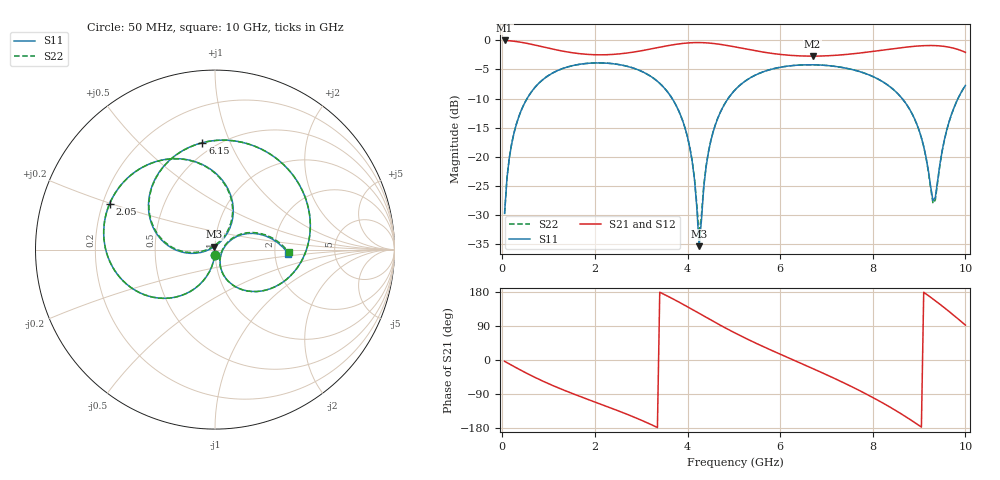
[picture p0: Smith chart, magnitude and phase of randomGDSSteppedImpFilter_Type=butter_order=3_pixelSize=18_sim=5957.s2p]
! freq	dB(S11)	phase(S11)	dB(S12)	phase(S12)
!  dB(S21)	phase(S21)	dB(S22)	phase(S22)
!S-par simulation data
#  GHz  S  DB  R 50
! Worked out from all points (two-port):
!   200 points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, 50 MHz to 10 GHz, reference 50 ohm
!   highest |S21| = -0.01 dB at 50 MHz (marker M1); lowest = -2.7 dB at 6.7 GHz (marker M2)
!   |S21| within 3 dB of the highest: start of sweep to end of sweep
!   lowest |S11| = -35.4 dB at 4.25 GHz (marker M3), VSWR 1.03, Z = 49.5 + j1.61 ohm
!   |S11| at or under -10 dB: start of sweep to 536.6 MHz; 3.667 GHz to 4.878 GHz (1.21 GHz wide, 28.3 % of centre); 8.633 GHz to 9.841 GHz (1.208 GHz wide, 13.1 % of centre)
!   |S22| runs from -33.4 to -3.9 dB; largest |S21 - S12| = 0
!   S11 on the Smith chart (normalised r, x): 50 MHz: 0.99, -0.06; 2.05 GHz: 0.23, +0.20; 6.15 GHz: 0.43, +0.79; 10 GHz: 2.38, -0.13
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0.05  -29.78 -93.5  -0.01 -3.5  -0.01 -3.5  -29.78 -93.5
0.2  -17.89 -104.2  -0.10 -13.7  -0.10 -13.7  -17.89 -104.2
0.5  -10.51 -123.9  -0.46 -33.3  -0.46 -33.3  -10.51 -123.9
1.05  -5.78 -155.8  -1.43 -65.3  -1.43 -65.3  -5.78 -155.7
1.75  -4.02 170.0  -2.35 -99.5  -2.35 -99.5  -4.02 170.1
2.05  -3.87 156.4  -2.48 -113.2  -2.48 -113.2  -3.87 156.5
2.8  -4.69 121.5  -2.05 -148.5  -2.05 -148.5  -4.69 121.7
3.4  -7.40 89.7  -1.17 178.9  -1.17 178.9  -7.39 90.2
4  -16.67 55.5  -0.44 140.3  -0.44 140.3  -16.64 57.3
4.15  -23.94 53.3  -0.38 130.0  -0.38 130.0  -23.76 57.5
4.25  -35.42 106.0  -0.37 123.1  -0.37 123.1  -33.37 109.6
4.35  -25.34 -170.7  -0.39 116.2  -0.39 116.2  -25.09 -175.6
4.5  -17.38 -171.0  -0.48 105.8  -0.48 105.8  -17.34 -173.1
5.05  -8.33 157.5  -1.16 69.7  -1.16 69.7  -8.32 156.8
6.15  -4.44 96.7  -2.53 7.3  -2.53 7.3  -4.44 96.4
6.7  -4.20 67.6  -2.71 -22.3  -2.71 -22.3  -4.19 67.4
7.55  -5.00 20.5  -2.32 -70.7  -2.32 -70.7  -5.01 20.4
8.35  -7.84 -29.0  -1.52 -122.8  -1.52 -122.8  -7.84 -29.0
8.95  -14.39 -67.2  -0.98 -168.6  -0.98 -168.6  -14.41 -67.5
9.3  -27.56 -33.0  -0.88 161.0  -0.88 161.0  -28.05 -33.3
9.6  -15.34 29.2  -1.09 132.7  -1.09 132.7  -15.37 30.7
10  -7.75 -3.1  -2.05 92.1  -2.05 92.1  -7.75 -1.9
